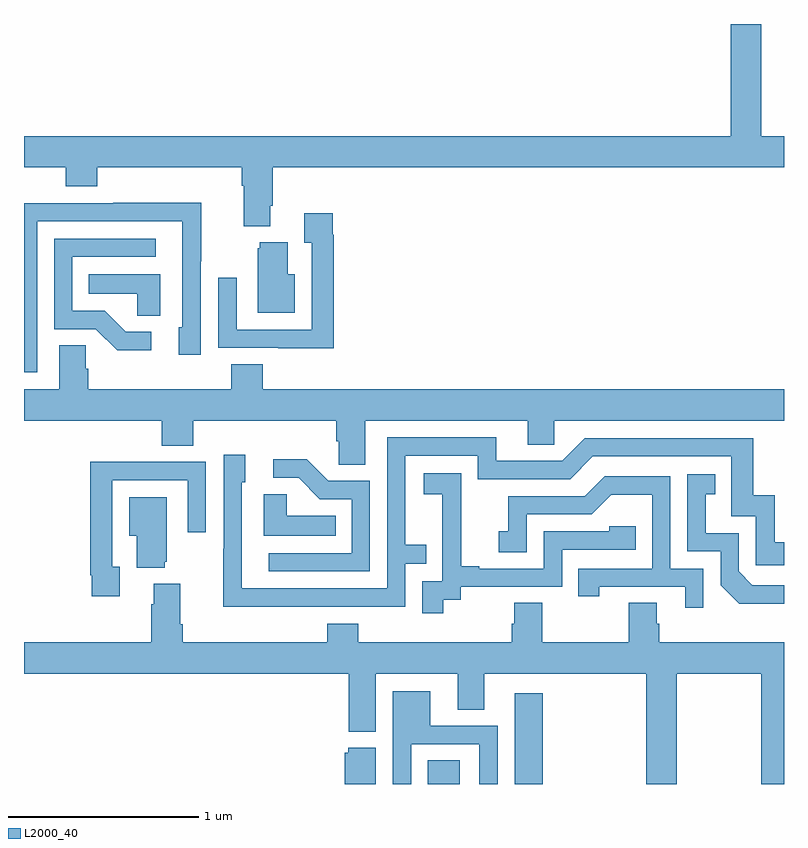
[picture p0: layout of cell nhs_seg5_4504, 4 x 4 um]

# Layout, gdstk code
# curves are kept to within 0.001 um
import gdstk
lib = gdstk.Library(unit=1e-6, precision=1e-09)
def R(c, l, rs):  # rectangles x0, y0, x1, y1
    for r in rs: c.add(gdstk.rectangle(r[:2], r[2:], *l))
def P(c, l, *ps):  # polygons
    for p in ps: c.add(gdstk.Polygon(p, *l))
L2000_40 = (2000, 40)

nhs_seg5_4504 = lib.new_cell('nhs_seg5_4504')
R(nhs_seg5_4504, L2000_40, [(377.126,902.799,377.293,902.924), (377.582,902.799,377.729,903.277)])
P(nhs_seg5_4504, L2000_40, [(376.297,905.842),(376.31,905.842),(376.31,906.044),(379,906.044),(379,906.208),(378.879,906.208),(378.879,906.799),(378.719,906.799),(378.719,906.208),(375,906.208),(375,906.044),(375.221,906.044),(375.221,905.945),(375.386,905.945),(375.386,906.044),(376.145,906.044),(376.145,905.948),(376.157,905.948),(376.157,905.735),(376.297,905.735)],
  [(375.069,905.76),(375.834,905.76),(375.834,905.202),(375.815,905.202),(375.815,905.058),(375.93,905.058),(375.93,905.551),(375.933,905.551),(375.933,905.858),(375.469,905.858),(375.469,905.856),(375,905.856),(375,904.965),(375.069,904.965)],
  [(376.631,905.69),(376.624,905.69),(376.624,905.803),(376.475,905.803),(376.475,905.647),(376.515,905.647),(376.515,905.19),(376.119,905.19),(376.119,905.464),(376.023,905.464),(376.023,905.094),(376.339,905.094),(376.339,905.093),(376.631,905.093)],
  [(375.67,905.178),(375.535,905.178),(375.424,905.289),(375.255,905.289),(375.255,905.574),(375.694,905.574),(375.694,905.67),(375.159,905.67),(375.159,905.193),(375.378,905.193),(375.491,905.081),(375.67,905.081)],
  [(376.426,905.482),(376.387,905.482),(376.387,905.65),(376.241,905.65),(376.241,905.619),(376.229,905.619),(376.229,905.279),(376.426,905.279)],
  [(375.718,905.482),(375.34,905.482),(375.34,905.378),(375.597,905.378),(375.597,905.263),(375.718,905.263)],
  [(376.795,904.712),(377.651,904.712),(377.651,904.585),(377.79,904.585),(377.79,904.712),(379,904.712),(379,904.876),(376.256,904.876),(376.256,905.009),(376.091,905.009),(376.091,904.876),(375.338,904.876),(375.338,904.985),(375.324,904.985),(375.324,905.108),(375.185,905.108),(375.185,904.876),(375,904.876),(375,904.712),(375.725,904.712),(375.725,904.579),(375.89,904.579),(375.89,904.712),(376.643,904.712),(376.643,904.603),(376.656,904.603),(376.656,904.48),(376.795,904.48)],
  [(376.511,903.732),(377.007,903.732),(377.007,903.957),(377.117,903.957),(377.117,904.058),(377.007,904.058),(377.007,904.527),(377.388,904.527),(377.388,904.404),(377.874,904.404),(377.994,904.524),(378.723,904.524),(378.723,904.209),(378.852,904.209),(378.852,903.951),(379,903.951),(379,904.071),(378.95,904.071),(378.95,904.318),(378.839,904.318),(378.839,904.62),(377.952,904.62),(377.832,904.5),(377.485,904.5),(377.485,904.623),(376.911,904.623),(376.911,903.828),(376.146,903.828),(376.146,904.386),(376.165,904.386),(376.165,904.531),(376.05,904.531),(376.05,904.037),(376.048,904.037),(376.048,903.731)],
  [(376.821,904.395),(376.602,904.395),(376.489,904.508),(376.311,904.508),(376.311,904.41),(376.445,904.41),(376.556,904.299),(376.725,904.299),(376.725,904.014),(376.287,904.014),(376.287,903.918),(376.821,903.918)],
  [(375.505,903.942),(375.465,903.942),(375.465,904.398),(375.861,904.398),(375.861,904.125),(375.957,904.125),(375.957,904.494),(375.641,904.494),(375.641,904.496),(375.349,904.496),(375.349,903.898),(375.357,903.898),(375.357,903.786),(375.505,903.786)],
  [(377.206,903.769),(377.298,903.769),(377.298,903.837),(377.832,903.837),(377.832,904.032),(378.221,904.032),(378.221,904.155),(378.081,904.155),(378.081,904.128),(377.736,904.128),(377.736,903.933),(377.395,903.933),(377.395,903.946),(377.3,903.946),(377.3,904.229),(377.301,904.229),(377.301,904.435),(377.103,904.435),(377.103,904.325),(377.201,904.325),(377.201,904.097),(377.202,904.097),(377.202,903.867),(377.097,903.867),(377.097,903.699),(377.206,903.699)],
  [(379,903.846),(378.834,903.846),(378.762,903.918),(378.762,904.119),(378.589,904.119),(378.589,904.323),(378.638,904.323),(378.638,904.429),(378.492,904.429),(378.492,904.023),(378.666,904.023),(378.666,903.846),(378.764,903.749),(379,903.749)],
  [(378.576,903.933),(378.402,903.933),(378.402,904.419),(378.056,904.419),(377.951,904.314),(377.548,904.314),(377.548,904.129),(377.499,904.129),(377.499,904.02),(377.646,904.02),(377.646,904.218),(377.988,904.218),(378.092,904.322),(378.306,904.322),(378.306,903.933),(377.917,903.933),(377.917,903.786),(378.028,903.786),(378.028,903.837),(378.479,903.837),(378.479,903.726),(378.576,903.726)],
  [(376.64,904.21),(376.383,904.21),(376.383,904.325),(376.262,904.325),(376.262,904.106),(376.64,904.106)],
  [(375.74,903.969),(375.751,903.969),(375.751,904.309),(375.554,904.309),(375.554,904.106),(375.593,904.106),(375.593,903.938),(375.74,903.938)],
  [(378.275,902.799),(378.435,902.799),(378.435,903.38),(378.88,903.38),(378.88,902.799),(379,902.799),(379,903.544),(378.344,903.544),(378.344,903.642),(378.331,903.642),(378.331,903.752),(378.184,903.752),(378.184,903.544),(377.727,903.544),(377.727,903.752),(377.579,903.752),(377.579,903.642),(377.567,903.642),(377.567,903.544),(376.76,903.544),(376.76,903.643),(376.595,903.643),(376.595,903.544),(375.836,903.544),(375.836,903.64),(375.823,903.64),(375.823,903.853),(375.683,903.853),(375.683,903.746),(375.671,903.746),(375.671,903.544),(375,903.544),(375,903.38),(376.709,903.38),(376.709,903.074),(376.852,903.074),(376.852,903.38),(377.282,903.38),(377.282,903.19),(377.422,903.19),(377.422,903.38),(378.275,903.38)],
  [(377.037,903.009),(377.397,903.009),(377.397,902.799),(377.493,902.799),(377.493,903.105),(377.137,903.105),(377.137,903.286),(376.941,903.286),(376.941,902.799),(377.037,902.799)],
  [(376.852,902.989),(376.707,902.989),(376.707,902.964),(376.688,902.964),(376.688,902.799),(376.852,902.799)])

lib.write_gds('nhs_seg5_4504.gds')
